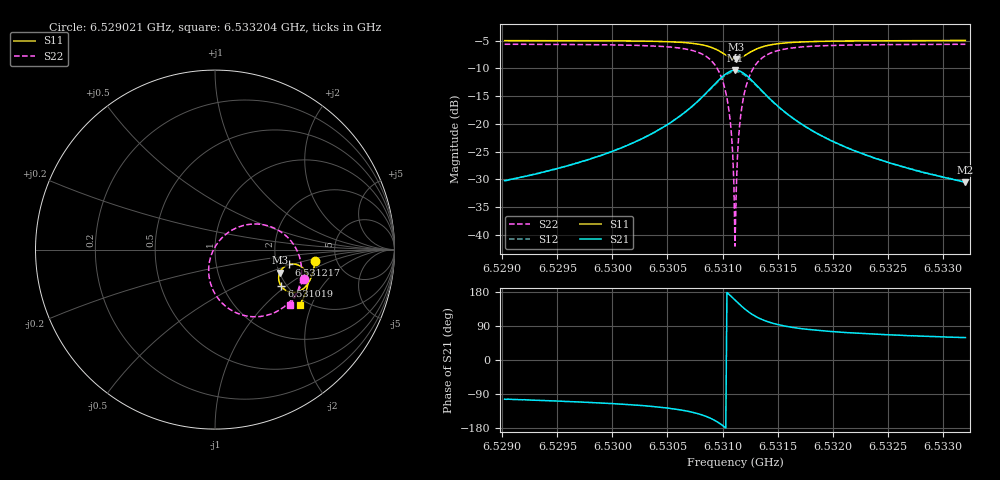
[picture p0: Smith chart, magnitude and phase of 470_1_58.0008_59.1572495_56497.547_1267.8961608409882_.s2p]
#  HZ  S  RI  R  50.00
! Rohde & Schwarz Vector Network Analyzer
! Rohde-Schwarz,ZNB20-2Port,1311601062101988,3.16
! Created: UTC 3/21/2024, 1:11:19 AM
! freq[Hz]  re:S11  im:S11  re:S21  im:S21  re:S12  im:S12  re:S22  im:S22
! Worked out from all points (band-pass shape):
!   401 points, 6.529021 GHz to 6.533204 GHz, reference 50 ohm
!   highest |S21| = -10.35 dB at 6.531113 GHz (marker M1); lowest = -30.5 dB at 6.533204 GHz (marker M2)
!   |S21| within 3 dB of the highest: 6.530905 GHz to 6.531324 GHz (418.3 kHz wide, 0.0064 % of centre)
!   lowest |S11| = -8.3 dB at 6.531123 GHz (marker M3), VSWR 2.24, Z = 100 - j30.2 ohm
!   |S11| at or under -10 dB: nowhere
!   |S22| runs from -42.0 to -5.7 dB; largest |S21 - S12| = 0.012
!   S11 on the Smith chart (normalised r, x): 6.529021 GHz: 3.43, -0.62; 6.531019 GHz: 1.87, -0.93; 6.531217 GHz: 2.34, -0.47; 6.533204 GHz: 1.82, -1.64
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6.5290214e9  0.5576 -0.0617  -0.00718 -0.0299  -0.00764 -0.0298  0.4933 -0.1652
6.5297221e9  0.5471 -0.1196  -0.0165 -0.0427  -0.0175 -0.0423  0.4627 -0.23
6.5304227e9  0.5185 -0.1885  -0.0499 -0.0731  -0.0518 -0.0718  0.3821 -0.3213
6.5306632e9  0.4915 -0.2183  -0.0891 -0.0922  -0.0918 -0.0894  0.3024 -0.3622
6.530841e9  0.448 -0.2372  -0.1565 -0.0986  -0.1588 -0.0924  0.1773 -0.3701
6.5309455e9  0.4039 -0.232  -0.225 -0.0725  -0.2245 -0.0634  0.06 -0.3163
6.5310187e9  0.3697 -0.2048  -0.2758 -0.0148  -0.2704 -0.00523  -0.0172 -0.2106
6.5310606e9  0.3571 -0.1773  -0.2917 0.0375  -0.2831 0.0454  -0.0353 -0.121
6.5310815e9  0.3548 -0.1611  -0.2924 0.0672  -0.2827 0.0735  -0.0316 -0.0719
6.5310919e9  0.355 -0.1527  -0.2905 0.0824  -0.2804 0.0878  -0.026 -0.0473
6.5311024e9  0.3562 -0.1444  -0.287 0.0974  -0.2767 0.1019  -0.0182 -0.023
6.5311129e9  0.3581 -0.1362  -0.2823 0.1122  -0.2716 0.1156  -0.00792 0.000396
6.5311233e9  0.361 -0.1281  -0.2759 0.1264  -0.2654 0.1289  0.00476 0.0227
6.5311338e9  0.3648 -0.1205  -0.2684 0.1399  -0.2578 0.1414  0.0195 0.0436
6.5311442e9  0.3693 -0.1134  -0.2594 0.1523  -0.2492 0.1529  0.036 0.0628
6.5311651e9  0.3801 -0.101  -0.2389 0.1739  -0.2293 0.1731  0.0733 0.0951
6.5312174e9  0.413 -0.083  -0.1788 0.2059  -0.1722 0.2029  0.1775 0.1386
6.5312906e9  0.4555 -0.0833  -0.104 0.208  -0.1006 0.2049  0.3039 0.1297
6.5313952e9  0.4924 -0.1058  -0.0395 0.177  -0.038 0.1756  0.4093 0.0635
6.5318135e9  0.5178 -0.1857  0.0158 0.0855  0.0168 0.0851  0.4826 -0.1281
6.5325141e9  0.498 -0.257  0.0178 0.0408  0.0185 0.0406  0.4546 -0.245
6.5332043e9  0.471 -0.3081  0.0153 0.0257  0.016 0.0255  0.42 -0.3063
